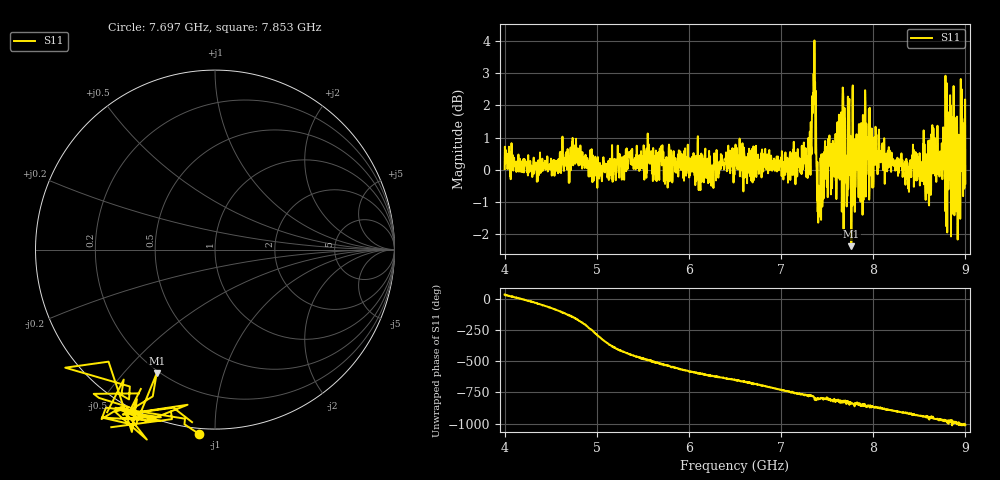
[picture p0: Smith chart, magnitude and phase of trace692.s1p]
! Created with skrf 1.8.0 (http://scikit-rf.org).
# Hz S RI R 50.0
!freq ReS11 ImS11
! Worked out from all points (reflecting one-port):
!   1601 points, 4 GHz to 9 GHz, reference 50 ohm
!   lowest |S11| = -2.4 dB at 7.762 GHz (marker M1), VSWR 7.40, Z = 9.41 - j30.9 ohm
!   phase of S11 starts at 36 deg and turns -1047 deg over the sweep
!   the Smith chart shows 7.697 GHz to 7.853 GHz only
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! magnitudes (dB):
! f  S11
! 4 GHz  0.0
! 4.625 GHz  0.4
! 5.25 GHz  0.4
! 5.875 GHz  -0.1
! 6.5 GHz  0.3
! 7.125 GHz  0.3
! 7.294 GHz  -0.1
! 7.356 GHz  2.6
! 7.409 GHz  -1.1
! 7.5 GHz  0.7
! 7.619 GHz  0.6
! 7.669 GHz  2.6
! 7.703 GHz  -0.4
! 7.75 GHz  0.3
! 7.762 GHz  -2.4
! 7.788 GHz  -0.3
! 7.8 GHz  -1.3
! 7.928 GHz  0.3
! 7.981 GHz  -0.2
! 8.375 GHz  -0.2
! 8.441 GHz  -0.5
! 8.603 GHz  -1.0
! 8.656 GHz  0.6
! 8.731 GHz  0.2
! 8.816 GHz  -0.6
! 8.919 GHz  -0.5
! 8.972 GHz  0.5
! 9 GHz  -0.4
